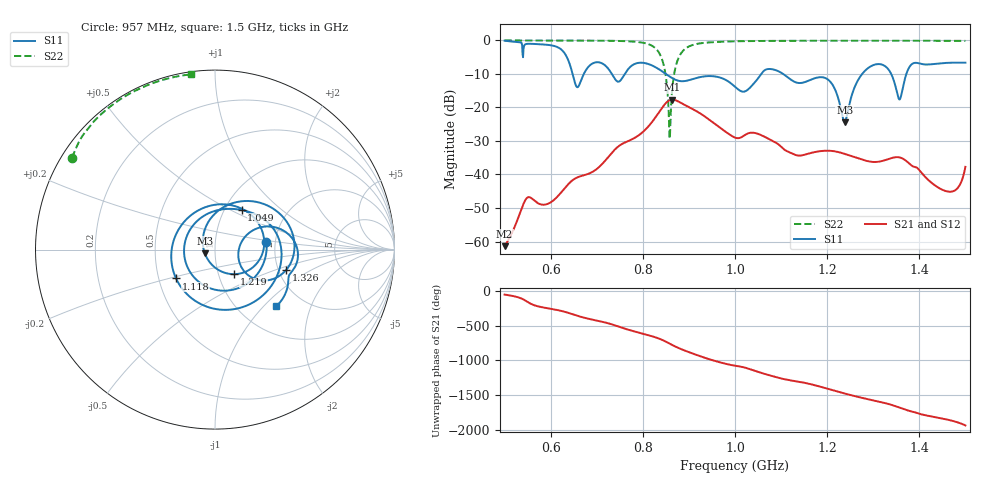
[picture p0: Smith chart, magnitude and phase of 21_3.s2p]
! TOUCHSTONE file generated by CST MICROWAVE STUDIO
! Date and time: Fri Dec 11 14:12:24 2020
! Project name: Scenario_1_Planar_Body_Tissue_Out_of_Line_v2.cst
! Parameters = {dy1=0; L_HA=400; Ltissue=700; MT=2.54; Rad_Dielectric=30; Rad_Lower=7.3; Rad_Upper=30; Wtissue=700; a_HA=580; a_WG=246; b_HA=500; b_WG=121; c_HA=0; c_WG=187; d_feed=85; dx1=520; h_feed=15; h_lower=18; h_upper=40; hfat=3; hgap=25; hmuscle=50; hskin=1.5}
! Header version: 2018
! Port assignment regex: !\s*Touchstone port\s*([0-9]+)\s*=\s*(CST MWS port|CST DS port)\s*([0-9]+|Zmin|Zmax)\s*\(\"(.*)\"\)(\s*mode\s*([0-9]+))?.*
! Touchstone port assignment:
! Touchstone port 1 = CST MWS port 1 ("")
! Touchstone port 2 = CST MWS port 2 ("")
# GHz S DB R 50
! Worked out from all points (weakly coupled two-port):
!   1003 points, 500 MHz to 1.5 GHz, reference 50 ohm
!   highest |S21| = -17.66 dB at 864 MHz (marker M1); lowest = -61.4 dB at 500 MHz (marker M2)
!   lowest |S11| = -24.4 dB at 1.238 GHz (marker M3), VSWR 1.13, Z = 44.6 - j1.76 ohm
!   |S11| at or under -10 dB: 850 MHz to 1.057 GHz (207 MHz wide, 21.7 % of centre); 1.104 GHz to 1.276 GHz (171.6 MHz wide, 14.4 % of centre); 1.339 GHz to 1.372 GHz (32.89 MHz wide, 2.43 % of centre)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
!   |S22| runs from -29.3 to 0.0 dB; largest |S21 - S12| = 5.6e-05
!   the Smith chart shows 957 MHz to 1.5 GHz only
!   S11 on the Smith chart (normalised r, x): 957 MHz: 1.79, +0.17; 1.049 GHz: 1.20, +0.57; 1.118 GHz: 0.62, -0.21; 1.219 GHz: 1.19, -0.33; 1.326 GHz: 2.20, -0.60; 1.5 GHz: 1.46, -1.18
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0.5  -0.07 -122.0  -61.38 -47.9  -61.38 -47.9  -0.01 151.1
0.548  -1.03 -138.2  -47.05 -146.9  -47.05 -146.9  -0.01 147.9
0.631  -3.99 145.5  -44.00 61.6  -44.00 61.6  -0.03 141.6
0.667  -11.57 179.2  -40.42 -12.8  -40.42 -12.8  -0.04 138.4
0.716  -7.22 105.4  -36.24 -88.1  -36.24 -88.1  -0.09 132.8
0.741  -11.77 8.2  -32.32 -136.7  -32.32 -136.7  -0.14 129.1
0.786  -6.83 166.0  -28.77 131.1  -28.77 131.1  -0.42 118.3
0.834  -8.52 44.3  -21.63 37.8  -21.63 37.8  -3.42 84.3
0.864  -11.27 -48.4  -17.66 -57.9  -17.66 -57.9  -14.20 -138.4
0.902  -11.78 170.4  -20.05 -166.0  -20.05 -166.0  -1.67 167.5
0.957  -10.75 8.6  -24.98 71.2  -24.98 71.2  -0.48 147.3
1  -13.81 -113.0  -29.00 2.6  -29.00 2.6  -0.26 140.2
1.049  -11.50 56.0  -27.83 -84.0  -27.83 -84.0  -0.17 134.5
1.118  -11.37 -143.5  -33.37 154.6  -33.37 154.6  -0.11 128.1
1.167  -11.58 69.9  -33.49 91.3  -33.49 91.3  -0.10 124.2
1.219  -15.24 -52.3  -33.15 -4.0  -33.15 -4.0  -0.08 120.2
1.238  -24.39 -161.0  -33.85 -39.1  -33.85 -39.1  -0.08 118.7
1.326  -7.70 -16.1  -35.70 -177.5  -35.70 -177.5  -0.08 112.1
1.334  -8.84 -27.0  -35.34 168.0  -35.34 168.0  -0.08 111.5
1.357  -17.63 -5.8  -34.90 117.5  -34.90 117.5  -0.09 109.7
1.387  -6.81 1.4  -37.63 55.3  -37.63 55.3  -0.09 107.4
1.5  -6.64 -42.9  -37.72 -140.8  -37.72 -140.8  -0.13 97.9
